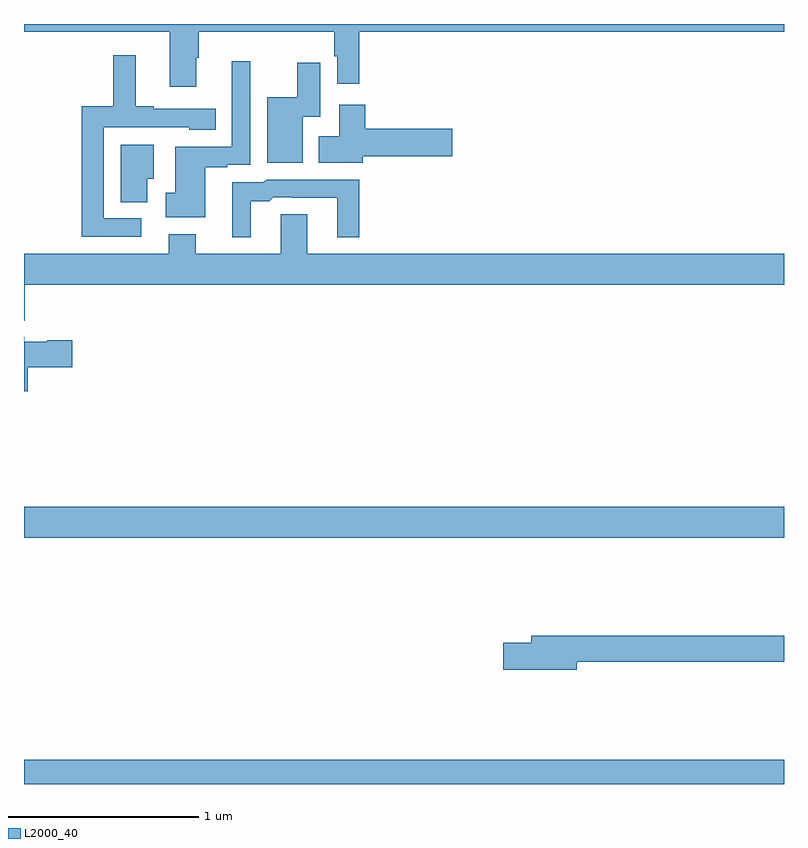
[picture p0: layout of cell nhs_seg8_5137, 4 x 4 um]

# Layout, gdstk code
import gdstk
lib = gdstk.Library(unit=1e-6, precision=1e-09)
def R(c, l, rs):  # rectangles x0, y0, x1, y1
    for r in rs: c.add(gdstk.rectangle(r[:2], r[2:], *l))
def P(c, l, *ps):  # polygons
    for p in ps: c.add(gdstk.Polygon(p, *l))
L2000_40 = (2000, 40)

nhs_seg8_5137 = lib.new_cell('nhs_seg8_5137')
R(nhs_seg8_5137, L2000_40, [(421,1085.9,425,1086.028), (421,1087.196,425,1087.36)])
P(nhs_seg8_5137, L2000_40, [(421.906,1089.723),(421.919,1089.723),(421.919,1089.86),(422.633,1089.86),(422.633,1089.731),(422.649,1089.731),(422.649,1089.585),(422.765,1089.585),(422.765,1089.86),(425,1089.86),(425,1089.9),(421,1089.9),(421,1089.86),(421.766,1089.86),(421.766,1089.57),(421.906,1089.57)],
  [(421.618,1088.877),(421.419,1088.877),(421.419,1089.357),(421.869,1089.357),(421.869,1089.344),(422.009,1089.344),(422.009,1089.453),(421.684,1089.453),(421.684,1089.466),(421.588,1089.466),(421.588,1089.736),(421.471,1089.736),(421.471,1089.466),(421.303,1089.466),(421.303,1088.781),(421.618,1088.781)],
  [(421.954,1089.147),(422.069,1089.147),(422.069,1089.159),(422.19,1089.159),(422.19,1089.703),(422.094,1089.703),(422.094,1089.255),(421.796,1089.255),(421.796,1089.012),(421.746,1089.012),(421.746,1088.882),(421.954,1088.882)],
  [(422.467,1089.413),(422.559,1089.413),(422.559,1089.697),(422.438,1089.697),(422.438,1089.514),(422.279,1089.514),(422.279,1089.17),(422.467,1089.17)],
  [(422.782,1089.203),(423.253,1089.203),(423.253,1089.35),(422.795,1089.35),(422.795,1089.475),(422.66,1089.475),(422.66,1089.31),(422.552,1089.31),(422.552,1089.17),(422.782,1089.17)],
  [(421.648,1089.086),(421.684,1089.086),(421.684,1089.265),(421.508,1089.265),(421.508,1088.962),(421.648,1088.962)],
  [(422.194,1088.966),(422.291,1088.966),(422.313,1088.988),(422.413,1088.988),(422.413,1088.985),(422.648,1088.985),(422.648,1088.777),(422.765,1088.777),(422.765,1089.081),(422.274,1089.081),(422.259,1089.066),(422.096,1089.066),(422.096,1088.777),(422.194,1088.777)],
  [(421.004,1088.528),(425,1088.528),(425,1088.692),(422.491,1088.692),(422.491,1088.9),(422.351,1088.9),(422.351,1088.692),(421.903,1088.692),(421.903,1088.794),(421.763,1088.794),(421.763,1088.692),(421,1088.692),(421,1088.339),(421.004,1088.339)],
  [(421.019,1088.093),(421.255,1088.093),(421.255,1088.235),(421.122,1088.235),(421.122,1088.227),(421.002,1088.227),(421.002,1088.254),(421,1088.254),(421,1087.968),(421.019,1087.968)],
  [(423.91,1086.544),(425,1086.544),(425,1086.68),(423.671,1086.68),(423.671,1086.644),(423.522,1086.644),(423.522,1086.502),(423.91,1086.502)])

lib.write_gds('nhs_seg8_5137.gds')
